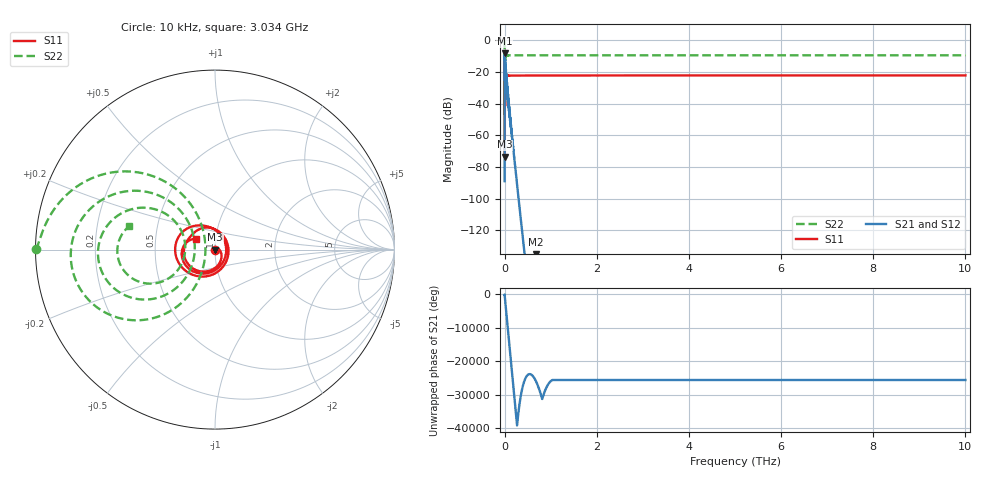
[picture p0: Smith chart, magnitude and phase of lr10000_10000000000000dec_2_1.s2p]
! NPort=2 DATA=4501 NOISE=0 GROUPDELAY=0 COMPLEX_DATAFORMAT=RI
! NumOfBlock=1 NumOfParam=0
! .MODEL Smodel S TSTONEFILE=./link_rx/link_rx_l3/lr10000_10000000000000dec_2_1.s2p TYPE=S
!  -- The above .MODEL line can be used for the S element in the netlist.
# Hz S RI R  50
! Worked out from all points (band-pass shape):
!   4501 points, 10 kHz to 10 THz, reference 50 ohm
!   highest |S21| = -8.08 dB at 3.855 GHz (marker M1); lowest = -198.4 dB at 673 GHz (marker M2)
!   |S21| within 3 dB of the highest: 1.844 GHz to 2.209 GHz (365.8 MHz wide, 18.1 % of centre); 2.568 GHz to 5.124 GHz (2.556 GHz wide, 66.5 % of centre)
!   lowest |S11| = -73.4 dB at 10 kHz (marker M3), VSWR 1.00, Z = 50 + j0.0143 ohm
!   |S11| at or under -10 dB: start of sweep to end of sweep
!   |S22| runs from -25.5 to 0.0 dB; largest |S21 - S12| = 0
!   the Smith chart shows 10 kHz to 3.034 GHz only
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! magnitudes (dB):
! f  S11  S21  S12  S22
! 10 kHz  -73.4  -89.0  -89.0  0.0
! 45.5 kHz  -67.1  -79.8  -79.8  0.0
! 316.2 kHz  -58.9  -66.2  -66.2  0.0
! 10 MHz  -44.1  -38.3  -38.3  -0.3
! 100 MHz  -30.3  -20.8  -20.8  -2.5
! 316.2 MHz  -18.6  -17.3  -17.3  -11.5
! 489.8 MHz  -15.6  -17.5  -17.5  -25.5
! 937.6 MHz  -16.8  -16.3  -16.3  -2.0
! 1.466 GHz  -16.9  -14.0  -14.0  -18.8
! 1.932 GHz  -13.9  -10.0  -10.0  -3.8
! 2.421 GHz  -22.8  -11.7  -11.7  -15.4
! 3.855 GHz  -18.6  -8.1  -8.1  -6.2
! 7.87 GHz  -19.4  -22.7  -22.7  -8.2
! 10 GHz  -26.1  -14.8  -14.8  -10.1
! 15.85 GHz  -22.3  -26.0  -26.0  -9.4
! 19.86 GHz  -22.1  -15.6  -15.6  -10.0
! 63.1 GHz  -22.2  -36.8  -36.8  -9.5
! 125.3 GHz  -22.2  -51.8  -51.8  -9.4
! 232.3 GHz  -22.2  -80.2  -80.2  -9.4
! 316.2 GHz  -22.2  -103.5  -103.5  -9.4
! 673 GHz  -22.2  -198.4  -198.4  -9.4
! 10 THz  -22.1  -  -  -9.4
